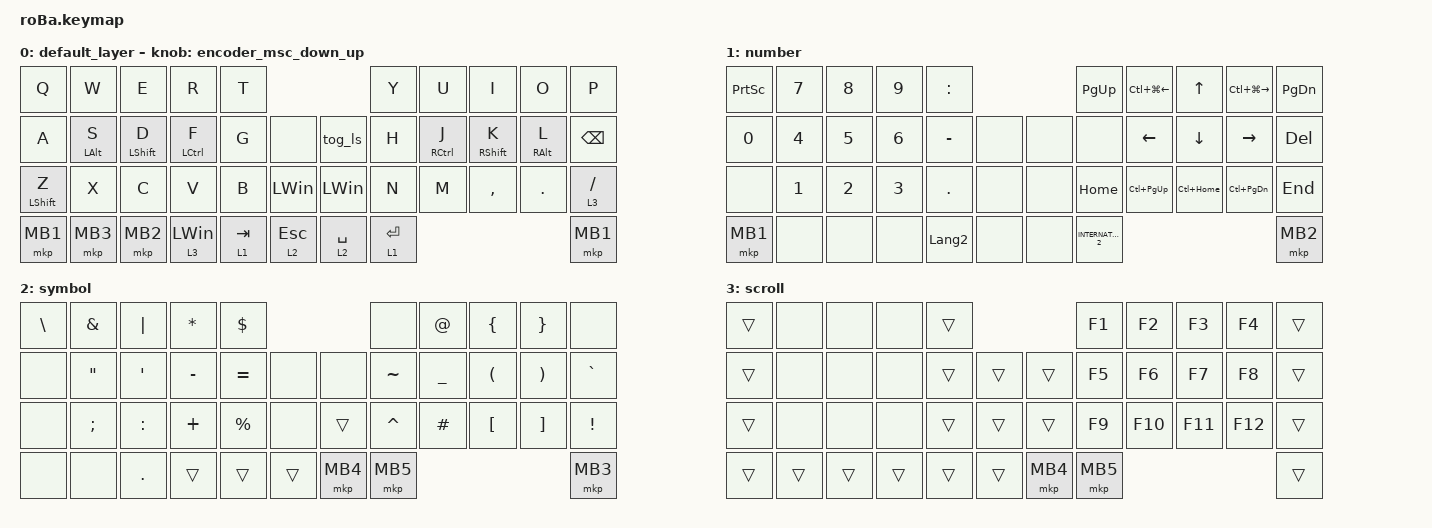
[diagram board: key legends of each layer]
#include <behaviors.dtsi>
#include <dt-bindings/zmk/keys.h>
#include <dt-bindings/zmk/pointing.h>

#include <layout_shift.dtsi>
#include <layout_shift_kp_override.dtsi>

#define ZMK_POINTING_DEFAULT_SCRL_VAL 80

&mt {
    flavor = "balanced";
    quick-tap-ms = <0>;
};

&trackball {
    automouse-layer = <4>;
    scroll-layers = <3>;

    // arrows {
    //     layers = <3>;
    //     bindings =
    //         <&kp RIGHT_ARROW>,
    //         <&kp LEFT_ARROW>,
    //         <&kp UP_ARROW>,
    //         <&kp DOWN_ARROW>;
    //     tick = <10>;
    //     wait-ms = <5>;
    //     tap-ms = <5>;
    // };
};

/ {
    combos { compatible = "zmk,combos"; };

    behaviors {
        encoder_msc_down_up: encoder_msc_down_up {
            compatible = "zmk,behavior-sensor-rotate";
            label = "ENCODER_MSC_DOWN_UP";
            #sensor-binding-cells = <0>;
            bindings = <&msc SCRL_DOWN>, <&msc SCRL_UP>;
            tap-ms = <20>;
        };
    };

    keymap {
        compatible = "zmk,keymap";

        default_layer {
            bindings = <
&kp Q             &kp W           &kp E             &kp R               &kp T                                   &kp Y        &kp U                &kp I              &kp O            &kp P
&kp A             &mt LEFT_ALT S  &mt LEFT_SHIFT D  &mt LEFT_CONTROL F  &kp G      &none          &tog_ls       &kp H        &mt RIGHT_CONTROL J  &mt RIGHT_SHIFT K  &mt RIGHT_ALT L  &kp BACKSPACE
&mt LEFT_SHIFT Z  &kp X           &kp C             &kp V               &kp B      &kp LEFT_WIN   &kp LEFT_WIN  &kp N        &kp M                &kp COMMA          &kp DOT          &lt 3 SLASH
&mkp MB1          &mkp MB3        &mkp MB2          &lt 3 LEFT_WIN      &lt 1 TAB  &lt 2 ESC      &lt 2 SPACE   &lt 1 ENTER                                                           &mkp MB1
            >;

            sensor-bindings = <&encoder_msc_down_up>;
        };

        number {
            bindings = <
&kp PRINTSCREEN  &kp N7        &kp N8        &kp N9        &kp COLON                         &kp PAGE_UP          &kp LC(LG(LEFT))  &kp UP        &kp LC(LG(RIGHT))  &kp PAGE_DOWN
&kp N0           &kp NUMBER_4  &kp N5        &kp NUMBER_6  &kp MINUS       &none      &none  &none                &kp LEFT          &kp DOWN      &kp RIGHT          &kp DEL
&none            &kp NUMBER_1  &kp NUMBER_2  &kp NUMBER_3  &kp PERIOD      &none      &none  &kp HOME             &kp LC(PAGE_UP)   &kp LC(HOME)  &kp LC(PAGE_DOWN)  &kp END
&mkp MB1         &none         &none         &none         &kp LANGUAGE_2  &none      &none  &kp INTERNATIONAL_2                                                     &mkp MB2
            >;
        };

        symbol {
            bindings = <
&kp BACKSLASH         &kp AMPERSAND      &kp PIPE    &kp ASTERISK  &kp DOLLAR                         &none      &kp AT_SIGN     &kp LEFT_BRACE        &kp RIGHT_BRACE        &none
&none                 &kp DOUBLE_QUOTES  &kp SQT     &kp MINUS     &kp EQUAL    &none       &none     &kp TILDE  &kp UNDERSCORE  &kp LEFT_PARENTHESIS  &kp RIGHT_PARENTHESIS  &kp GRAVE
&none                 &kp SEMICOLON      &kp COLON   &kp PLUS      &kp PERCENT  &none       &trans    &kp CARET  &kp HASH        &kp LEFT_BRACKET      &kp RIGHT_BRACKET      &kp EXCLAMATION
&none                 &none              &kp PERIOD  &trans        &trans       &trans      &mkp MB4  &mkp MB5                                                                &mkp MB3
            >;
        };

        scroll {
            bindings = <
&trans  &none   &none   &none   &trans                        &kp F1    &kp F2   &kp F3   &kp F4   &trans
&trans  &none   &none   &none   &trans  &trans      &trans    &kp F5    &kp F6   &kp F7   &kp F8   &trans
&trans  &none   &none   &none   &trans  &trans      &trans    &kp F9    &kp F10  &kp F11  &kp F12  &trans
&trans  &trans  &trans  &trans  &trans  &trans      &mkp MB4  &mkp MB5                             &trans
            >;
        };
    };
};
